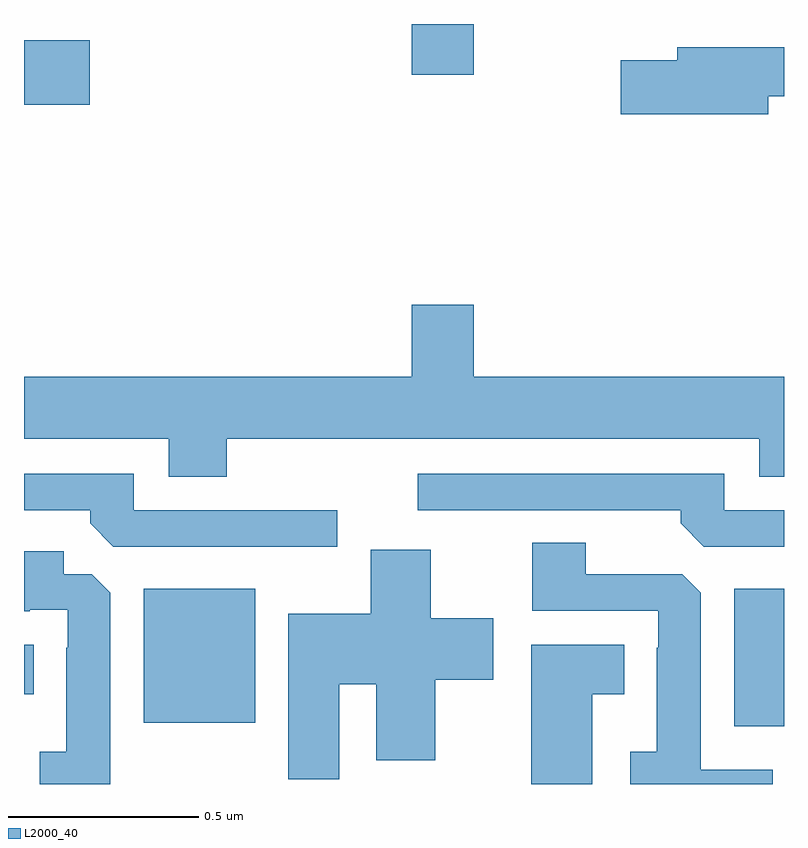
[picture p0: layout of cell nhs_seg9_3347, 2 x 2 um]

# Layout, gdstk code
import gdstk
lib = gdstk.Library(unit=1e-6, precision=1e-09)
def R(c, l, rs):  # rectangles x0, y0, x1, y1
    for r in rs: c.add(gdstk.rectangle(r[:2], r[2:], *l))
def P(c, l, *ps):  # polygons
    for p in ps: c.add(gdstk.Polygon(p, *l))
L2000_40 = (2000, 40)

nhs_seg9_3347 = lib.new_cell('nhs_seg9_3347')
R(nhs_seg9_3347, L2000_40, [(153.869,1207.652,154,1208.014), (152.315,1207.661,152.608,1208.014), (152,1207.736,152.026,1207.867), (152,1209.287,152.173,1209.457), (153.02,1209.366,153.184,1209.5)])
P(nhs_seg9_3347, L2000_40, [(153.958,1209.31),(154,1209.31),(154,1209.439),(153.719,1209.439),(153.719,1209.405),(153.57,1209.405),(153.57,1209.263),(153.958,1209.263)],
  [(152.534,1208.408),(153.935,1208.408),(153.935,1208.309),(154,1208.309),(154,1208.572),(153.184,1208.572),(153.184,1208.761),(153.02,1208.761),(153.02,1208.572),(152,1208.572),(152,1208.408),(152.381,1208.408),(152.381,1208.309),(152.534,1208.309)],
  [(154,1208.22),(153.843,1208.22),(153.843,1208.316),(153.036,1208.316),(153.036,1208.22),(153.728,1208.22),(153.728,1208.186),(153.789,1208.124),(154,1208.124)],
  [(152.824,1208.22),(152.289,1208.22),(152.289,1208.316),(152,1208.316),(152,1208.22),(152.174,1208.22),(152.174,1208.186),(152.235,1208.124),(152.824,1208.124)],
  [(153.97,1207.537),(153.781,1207.537),(153.781,1208.003),(153.732,1208.052),(153.478,1208.052),(153.478,1208.135),(153.338,1208.135),(153.338,1207.956),(153.669,1207.956),(153.669,1207.859),(153.665,1207.859),(153.665,1207.585),(153.596,1207.585),(153.596,1207.5),(153.97,1207.5)],
  [(152.83,1207.763),(152.927,1207.763),(152.927,1207.563),(153.082,1207.563),(153.082,1207.774),(153.235,1207.774),(153.235,1207.936),(153.07,1207.936),(153.07,1208.116),(152.912,1208.116),(152.912,1207.948),(152.696,1207.948),(152.696,1207.513),(152.83,1207.513)],
  [(152.227,1208.003),(152.178,1208.052),(152.104,1208.052),(152.104,1208.113),(152,1208.113),(152,1207.955),(152.015,1207.955),(152.015,1207.959),(152.115,1207.959),(152.115,1207.859),(152.111,1207.859),(152.111,1207.585),(152.042,1207.585),(152.042,1207.5),(152.227,1207.5)],
  [(153.496,1207.736),(153.58,1207.736),(153.58,1207.867),(153.335,1207.867),(153.335,1207.5),(153.496,1207.5)])

lib.write_gds('nhs_seg9_3347.gds')
